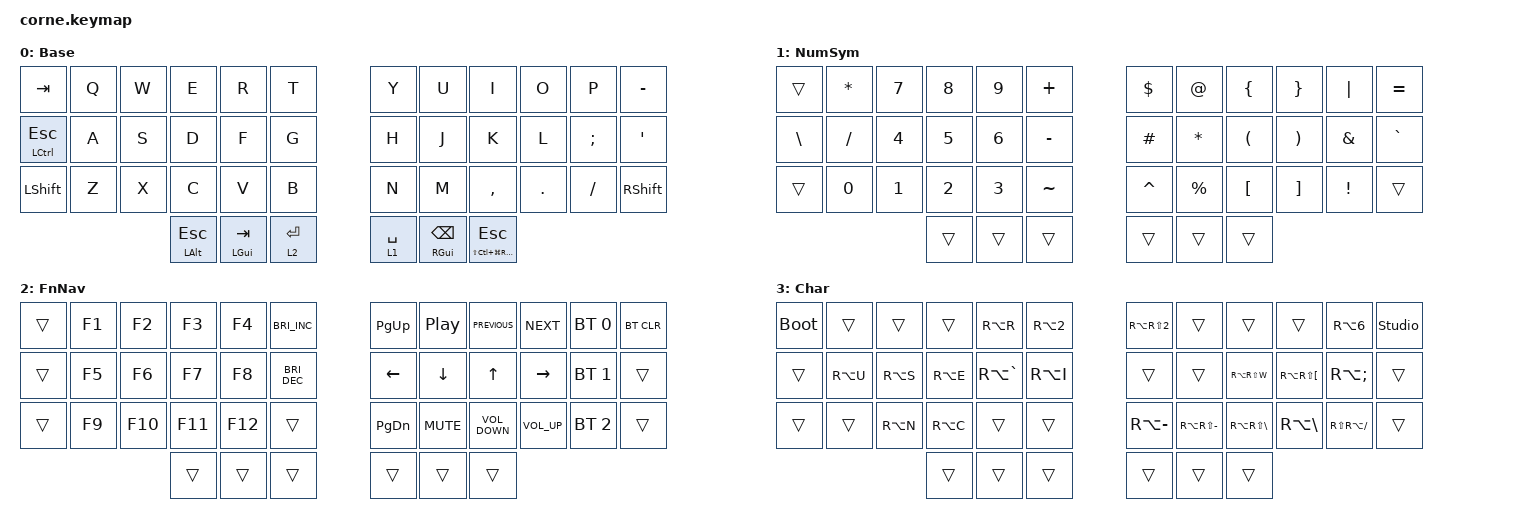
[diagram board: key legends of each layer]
#include <behaviors.dtsi>
#include <dt-bindings/zmk/bt.h>
#include <dt-bindings/zmk/keys.h>

#define DEF 0
#define NAV 1
#define SYM 2
#define ADJ 3
#define EXTRA 4

/ {
    combos { compatible = "zmk,combos"; };

    //

    keymap {
        compatible = "zmk,keymap";

        Base {
            display-name = "Base";

            // -----------------------------------------------------------------------------------------
            // |  Q  |  W  |  E  |  R  |  T  |   |  Y  |  U   |  I  |  O  |  P  |
            // |  A  |  S  |  D  |  F  |  G  |   |  H  |  J   |  K  |  L  |  ;  |
            // |  Z  |  X  |  C  |  V  |  B  |   |  N  |  M   |  ,  |  .  |  /  |
            // | GUI | CTRL | SHFT | LWR | SPC |   | ENT | RSE  | BKSP | ALT | ESC |

            bindings = <
&kp TAB           &kp Q  &kp W  &kp E                &kp R             &kp T           &kp Y        &kp U                    &kp I                             &kp O    &kp P     &kp MINUS
&mt LCTRL ESCAPE  &kp A  &kp S  &kp D                &kp F             &kp G           &kp H        &kp J                    &kp K                             &kp L    &kp SEMI  &kp SQT
&kp LEFT_SHIFT    &kp Z  &kp X  &kp C                &kp V             &kp B           &kp N        &kp M                    &kp COMMA                         &kp DOT  &kp FSLH  &kp RSHFT
                                &mt LEFT_ALT ESCAPE  &mt LEFT_GUI TAB  &lt 2 RETURN    &lt 1 SPACE  &mt RIGHT_GUI BACKSPACE  &mt LS(LC(LG(RIGHT_ALT))) ESCAPE
            >;
        };

        NumSym {
            display-name = "NumSym";

            // -----------------------------------------------------------------------------------------
            // |  TAB |  1  |  2  |  3  |  4  |  5  |   |  6  |  7  |  8  |  9  |  0  | BKSP |
            // | BTCLR| BT1 | BT2 | BT3 | BT4 | BT5 |   | LFT | DWN |  UP | RGT |     |      |
            // | SHFT |     |     |     |     |     |   |     |     |     |     |     |      |
            // | GUI | CTRL | SHFT | LWR | SPC |   | ENT | RSE  | BKSP | ALT | ESC |

            bindings = <
&trans         &kp ASTERISK  &kp NUMBER_7  &kp NUMBER_8  &kp NUMBER_9  &kp PLUS     &kp DOLLAR  &kp AT_SIGN   &kp LEFT_BRACE        &kp RIGHT_BRACE        &kp PIPE         &kp EQUAL
&kp BACKSLASH  &kp SLASH     &kp NUMBER_4  &kp NUMBER_5  &kp NUMBER_6  &kp MINUS    &kp POUND   &kp ASTERISK  &kp LEFT_PARENTHESIS  &kp RIGHT_PARENTHESIS  &kp AMPERSAND    &kp GRAVE
&trans         &kp NUMBER_0  &kp NUMBER_1  &kp NUMBER_2  &kp NUMBER_3  &kp TILDE    &kp CARET   &kp PERCENT   &kp LEFT_BRACKET      &kp RIGHT_BRACKET      &kp EXCLAMATION  &trans
                                           &trans        &trans        &trans       &trans      &trans        &trans
            >;
        };

        FnNav {
            display-name = "FnNav";

            // -----------------------------------------------------------------------------------------
            // |  TAB |  !  |  @  |  #  |  $  |  %  |   |  ^  |  &  |  *  |  (  |  )  | BKSP |
            // | CTRL |     |     |     |     |     |   |  -  |  =  |  [  |  ]  |  \  |  `   |
            // | SHFT |     |     |     |     |     |   |  _  |  +  |  {  |  }  | "|" |  ~   |
            //                    | GUI |     | SPC |   | ENT |     | ALT |

            bindings = <
&trans  &kp F1  &kp F2   &kp F3   &kp F4   &kp C_BRIGHTNESS_INC    &kp PAGE_UP     &kp C_PLAY_PAUSE  &kp C_PREVIOUS     &kp C_NEXT       &bt BT_SEL 0  &bt BT_CLR
&trans  &kp F5  &kp F6   &kp F7   &kp F8   &kp C_BRIGHTNESS_DEC    &kp LEFT_ARROW  &kp DOWN_ARROW    &kp UP_ARROW       &kp RIGHT_ARROW  &bt BT_SEL 1  &trans
&trans  &kp F9  &kp F10  &kp F11  &kp F12  &trans                  &kp PAGE_DOWN   &kp C_MUTE        &kp C_VOLUME_DOWN  &kp C_VOLUME_UP  &bt BT_SEL 2  &trans
                         &trans   &trans   &trans                  &trans          &trans            &trans
            >;
        };

        Char {
            display-name = "Char";
            bindings = <
&bootloader  &trans     &trans     &trans     &kp RA(R)      &kp RA(NUMBER_2)    &kp RA(RS(NUMBER_2))  &trans             &trans                 &trans                    &kp RA(NUMBER_6)  &studio_unlock
&trans       &kp RA(U)  &kp RA(S)  &kp RA(E)  &kp RA(GRAVE)  &kp RA(I)           &trans                &trans             &kp RA(RS(W))          &kp RA(RS(LEFT_BRACKET))  &kp RA(SEMI)      &trans
&trans       &trans     &kp RA(N)  &kp RA(C)  &trans         &trans              &kp RA(MINUS)         &kp RA(RS(MINUS))  &kp RA(RS(BACKSLASH))  &kp RA(BACKSLASH)         &kp RS(RA(FSLH))  &trans
                                   &trans     &trans         &trans              &trans                &trans             &trans
            >;
        };
    };

    conditional_layers {
        compatible = "zmk,conditional-layers";

        layer3 {
            if-layers = <1 2>;
            then-layer = <3>;
        };
    };
};
